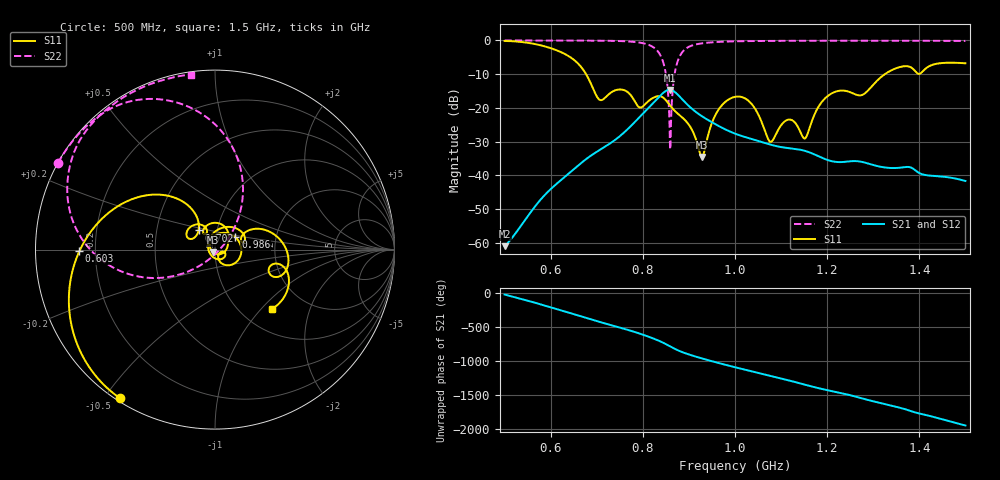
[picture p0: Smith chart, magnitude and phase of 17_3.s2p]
! TOUCHSTONE file generated by CST MICROWAVE STUDIO
! Date and time: Fri Oct  2 16:38:35 2020
! Project name: Scenario_1_Free_Space_out_of_line.cst
! Parameters = {Lambda=346.42; Step_1=17.321; dy1=70.184; dx1=520; L_HA=400; MT=2.54; Rad_Dielectric=30; Rad_Lower=7.3; Rad_Upper=30; a_HA=580; a_WG=246; b_HA=500; b_WG=121; c_HA=0; c_WG=187; d_feed=85; h_feed=15; h_lower=18; h_upper=40}
! Header version: 2018
! Port assignment regex: !\s*Touchstone port\s*([0-9]+)\s*=\s*(CST MWS port|CST DS port)\s*([0-9]+|Zmin|Zmax)\s*\(\"(.*)\"\)(\s*mode\s*([0-9]+))?.*
! Touchstone port assignment:
! Touchstone port 1 = CST MWS port 1 ("")
! Touchstone port 2 = CST MWS port 2 ("")
# GHz S DB R 50
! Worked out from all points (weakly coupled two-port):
!   1003 points, 500 MHz to 1.5 GHz, reference 50 ohm
!   highest |S21| = -14.66 dB at 858 MHz (marker M1); lowest = -61.0 dB at 500 MHz (marker M2)
!   lowest |S11| = -34.6 dB at 928 MHz (marker M3), VSWR 1.04, Z = 48.8 - j1.39 ohm
!   |S11| at or under -10 dB: 676.8 MHz to 1.325 GHz (648.5 MHz wide, 64.8 % of centre)
!   |S22| runs from -32.3 to 0.0 dB; largest |S21 - S12| = 5.3e-06
!   S11 on the Smith chart (normalised r, x): 500 MHz: 0.01, -0.55; 603 MHz: 0.14, -0.01; 702 MHz: 0.81, +0.18; 986 MHz: 1.24, +0.17; 1.5 GHz: 1.37, -1.15
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0.5  -0.15 -122.6  -61.01 -19.6  -61.01 -19.6  -0.01 151.1
0.603  -2.43 -179.2  -43.72 145.1  -43.72 145.1  -0.02 143.9
0.667  -8.03 130.9  -36.25 16.9  -36.25 16.9  -0.04 138.3
0.702  -17.02 130.6  -32.86 -55.4  -32.86 -55.4  -0.07 134.6
0.784  -18.42 112.5  -24.00 144.4  -24.00 144.4  -0.47 118.8
0.834  -16.52 91.1  -16.88 20.5  -16.88 20.5  -3.49 87.5
0.848  -17.42 63.3  -15.15 -24.2  -15.15 -24.2  -8.52 65.4
0.858  -19.13 47.2  -14.66 -60.3  -14.66 -60.3  -25.35 28.3
0.88  -22.20 21.5  -16.66 -134.2  -16.66 -134.2  -4.70 -170.5
0.928  -34.58 -130.4  -22.46 118.2  -22.46 118.2  -0.86 155.1
0.956  -22.51 93.2  -24.74 64.9  -24.74 64.9  -0.50 147.8
0.986  -17.52 31.0  -26.83 11.4  -26.83 11.4  -0.31 142.4
1  -16.73 6.4  -27.63 -12.4  -27.63 -12.4  -0.26 140.3
1.037  -19.00 -51.4  -29.26 -75.1  -29.26 -75.1  -0.18 135.8
1.077  -30.05 -40.7  -30.91 -142.3  -30.91 -142.3  -0.14 131.8
1.117  -23.46 -36.6  -31.95 152.2  -31.95 152.2  -0.11 128.2
1.152  -29.05 -163.2  -32.75 89.6  -32.75 89.6  -0.10 125.4
1.167  -23.87 120.7  -33.49 62.5  -33.49 62.5  -0.10 124.2
1.206  -16.02 51.8  -35.67 0.9  -35.67 0.9  -0.09 121.2
1.276  -16.17 22.1  -36.04 -113.2  -36.04 -113.2  -0.09 115.9
1.334  -9.25 13.5  -37.80 149.3  -37.80 149.3  -0.09 111.5
1.5  -6.78 -46.3  -41.68 -152.0  -41.68 -152.0  -0.14 97.9
